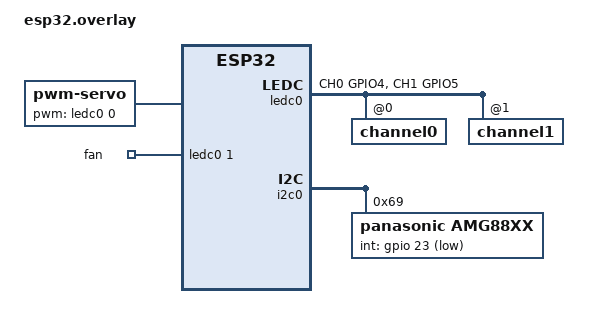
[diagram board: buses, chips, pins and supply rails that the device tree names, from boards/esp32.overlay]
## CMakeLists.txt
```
# SPDX-License-Identifier: Apache-2.0

cmake_minimum_required(VERSION 3.20.0)

find_package(Zephyr REQUIRED HINTS ../zephyr)
project(smart_fan)

target_include_directories(app PRIVATE include)
target_sources(app PRIVATE src/main.c)
target_sources(app PRIVATE src/sensor.c)
target_sources(app PRIVATE src/servo.c)
target_sources(app PRIVATE src/fan.c)
```

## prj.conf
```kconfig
# Logging
CONFIG_LOG=y
CONFIG_LOG_BUFFER_SIZE=8192
CONFIG_SENSOR_LOG_LEVEL_INF=y

# AMG88xx sensor
CONFIG_I2C=y
CONFIG_SENSOR=y
CONFIG_AMG88XX_TRIGGER_GLOBAL_THREAD=y
CONFIG_AMG88XX_TRIGGER_OWN_THREAD=y

# Servo
CONFIG_PWM=y
```

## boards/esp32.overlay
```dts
/*
 * Copyright (c) 2023 Alessandro Bortolin
 * SPDX-License-Identifier: Apache-2.0
 */

#include <zephyr/dt-bindings/pwm/pwm.h>
#include <dt-bindings/pinctrl/esp32-pinctrl.h>

/ {
	servo: servos {
	    compatible = "pwm-servo";
        pwms = <&ledc0 0 PWM_MSEC(20) PWM_POLARITY_NORMAL>;
        min-pulse = <PWM_MSEC(1)>;
        max-pulse = <PWM_MSEC(2)>;
        rotation-angle = <90>;
	};

    fans {
		compatible = "pwm-leds";
		fan: fan {
			pwms = <&ledc0 1 PWM_MSEC(20) PWM_POLARITY_NORMAL>;
		};
	};
};

&pinctrl {
	ledc0_default: ledc0_default {
		group1 {
			pinmux = <LEDC_CH0_GPIO4>,
			         <LEDC_CH1_GPIO5>;
			output-enable;
		};
	};
};

&ledc0 {
	pinctrl-0 = <&ledc0_default>;
	pinctrl-names = "default";
	status = "okay";
	#address-cells = <1>;
	#size-cells = <0>;
	channel0@0 {
		reg = <0x0>;
		timer = <0>;
	};
	channel1@0 {
		reg = <0x1>;
		timer = <1>;
	};
};

&i2c0 {
    amg88xx@69 {
        compatible = "panasonic,amg88xx";
		reg = <0x69>;
		int-gpios = <&gpio 23 (GPIO_ACTIVE_LOW | GPIO_PULL_UP)>;
		status = "okay";
    };
};
```

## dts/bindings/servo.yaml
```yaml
# Copyright (c) 2023 Alessandro Bortolin
# SPDX-License-Identifier: Apache-2.0

description: PWM-driven servo motor.

compatible: "pwm-servo"

include: base.yaml

properties:
  pwms:
    required: true
    type: phandle-array
    description: PWM specifier driving the servo motor.

  min-pulse:
    required: true
    type: int
    description: Minimum pulse width (nanoseconds).

  max-pulse:
    required: true
    type: int
    description: Maximum pulse width (nanoseconds).

  rotation-angle:
    required: true
    type: int
    description: Rotation angle (degrees).
```

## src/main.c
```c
/*
 * Copyright (c) 2023 Alessandro Bortolin
 * SPDX-License-Identifier: Apache-2.0
 */

#include <zephyr/logging/log.h>
#include <zephyr/kernel.h>

#include "smart_fan/sensor.h"
#include "smart_fan/servo.h"
#include "smart_fan/fan.h"

LOG_MODULE_REGISTER(smart_fan);

#define TIMER_PULSE 250

static void loop() {
    if (refetch()) return;

    int position, temperature;
    find_hottest_zone(&position, &temperature);

    if (position != 0) {
        move_servo(position);
    }
    spin_fan(temperature);
}

static K_WORK_DEFINE(timer_work, loop);

static void timer_cb() {
    k_work_submit(&timer_work);
}

static K_TIMER_DEFINE(timer, timer_cb, NULL);

int main() {
    LOG_INF("Hello World from %s!", CONFIG_BOARD);

    k_timer_start(&timer, K_MSEC(TIMER_PULSE), K_MSEC(TIMER_PULSE));

    return 0;
}
```

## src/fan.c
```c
/*
 * Copyright (c) 2023 Alessandro Bortolin
 * SPDX-License-Identifier: Apache-2.0
 */

#include <zephyr/device.h>
#include <zephyr/drivers/pwm.h>
#include <zephyr/logging/log.h>

#include "smart_fan/fan.h"

LOG_MODULE_DECLARE(smart_fan, LOG_LEVEL_INF);


#define MIN_TEMP 20
#define MAX_TEMP 30

static const struct pwm_dt_spec fan = PWM_DT_SPEC_GET(DT_NODELABEL(fan));

uint32_t lerp(int temp) {
    if (temp < MIN_TEMP) {
        return 0;
    } else if (temp >= MAX_TEMP) {
        return fan.period - 1;
    } else {
        return (temp - MIN_TEMP) * fan.period / (MAX_TEMP - MIN_TEMP);
    }
}

void spin_fan(int temperature) {
    uint32_t pulse = lerp(temperature);

    int ret = pwm_set_pulse_dt(&fan, pulse);
    if (ret < 0) {
        LOG_ERR("Failed to set fan pulse width: %d", ret);
    }
}

static int init() {
    if (!device_is_ready(fan.dev)) {
        LOG_ERR("fan motor: device not ready");
        return -ENODEV;
    }

    return 0;
}

SYS_INIT(init, APPLICATION, CONFIG_APPLICATION_INIT_PRIORITY);
```

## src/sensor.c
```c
/*
 * Copyright (c) 2023 Alessandro Bortolin
 * SPDX-License-Identifier: Apache-2.0
 */

#include <smart_fan/sensor.h>

#include <zephyr/device.h>
#include <zephyr/drivers/sensor.h>
#include <zephyr/logging/log.h>

#include <stdio.h>

LOG_MODULE_DECLARE(smart_fan, LOG_LEVEL_INF);


#define PIXEL(x, y) ((PIXEL_WIDTH - (x) - 1) * PIXEL_HEIGHT + (y))


static const struct device* const dev = DEVICE_DT_GET_ONE(panasonic_amg88xx);

static struct sensor_value raw_temps[PIXEL_HEIGHT * PIXEL_WIDTH];

int refetch(void) {
    int ret = sensor_sample_fetch(dev);
    if (ret) {
        LOG_ERR("Failed to fetch sample, %d", ret);
        return ret;
    }

    ret = sensor_channel_get(dev, SENSOR_CHAN_AMBIENT_TEMP, raw_temps);
    if (ret) {
        LOG_ERR("Failed to get sensor values, %d", ret);
        return ret;
    }

    return 0;
}

void find_hottest_zone(int* position, int* temperature) {
    int hot_pos = 0;
    int hot_temp = 0;

    for (int col = 0; col < PIXEL_WIDTH; col++) {
        // Take the sum of the temperatures of the column
        int col_temp = 0;
        for (int row = 0; row < PIXEL_HEIGHT; row++) {
            col_temp += raw_temps[PIXEL(col, row)].val1;
        }

        // Choose the column with the highest average temperature
        if (col_temp > hot_temp) {
            hot_temp = col_temp;
            hot_pos = col;
        }
    }

    // Map the hottest position from range [0, 7] to range [-3, 3]
    *position = (hot_pos - (PIXEL_WIDTH / 2) + (hot_pos < PIXEL_WIDTH / 2));
    *temperature = hot_temp / PIXEL_HEIGHT;
}

static int init() {
    if (!device_is_ready(dev)) {
        LOG_ERR("am88xx sensor: device not ready");
        return -ENODEV;
    }

    return 0;
}

SYS_INIT(init, APPLICATION, CONFIG_APPLICATION_INIT_PRIORITY);
```

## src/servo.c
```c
/*
 * Copyright (c) 2023 Alessandro Bortolin
 * SPDX-License-Identifier: Apache-2.0
 */

#include <zephyr/device.h>
#include <zephyr/drivers/pwm.h>
#include <zephyr/logging/log.h>

#include "smart_fan/sensor.h"
#include "smart_fan/servo.h"

LOG_MODULE_DECLARE(smart_fan, LOG_LEVEL_INF);

static const struct pwm_dt_spec servo = PWM_DT_SPEC_GET(DT_NODELABEL(servo));
static const uint32_t min_pulse = DT_PROP(DT_NODELABEL(servo), min_pulse);
static const uint32_t max_pulse = DT_PROP(DT_NODELABEL(servo), max_pulse);
static const uint32_t rotation_angle = DT_PROP(DT_NODELABEL(servo), rotation_angle);

static uint32_t pulse = (min_pulse + max_pulse) / 2;

#define PIXEL_ANGLE (VIEW_ANGLE / PIXEL_WIDTH)
#define PIXEL_PULSE ((max_pulse - min_pulse) / (rotation_angle / PIXEL_ANGLE))

void move_servo(int movement) {
    pulse = Z_CLAMP(pulse + movement * PIXEL_PULSE, min_pulse, max_pulse);
    LOG_INF("Servo pulse: %d", pulse);

    int ret = pwm_set_pulse_dt(&servo, pulse);
    if (ret < 0) {
        LOG_ERR("Failed to set servo pulse width: %d", ret);
    }
}

static int init() {
    if (!device_is_ready(servo.dev)) {
        LOG_ERR("servo motor: device not ready");
        return -ENODEV;
    }

    return 0;
}

SYS_INIT(init, APPLICATION, CONFIG_APPLICATION_INIT_PRIORITY);
```
